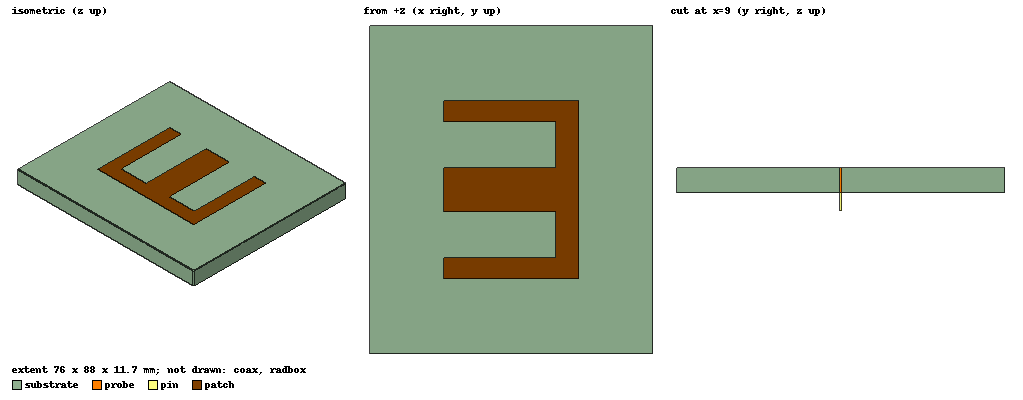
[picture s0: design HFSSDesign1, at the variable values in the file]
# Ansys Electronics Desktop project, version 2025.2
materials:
  vacuum: permittivity=1
  Rogers RT/duroid 5880 (tm): permittivity=2.2 dielectric_loss_tangent=0.0009
  pec: conductivity=1e+30

design HFSSDesign1 (HFSS, HFSS Terminal Network, model units mm)
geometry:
  patch = rectangle(corner=(0mm, 0mm, 0mm), x_size=36mm, y_size=48mm)
  slot1 = rectangle(corner=(0mm, 5.7mm, 0mm), x_size=30mm, y_size=12.5mm)
  slot2 = rectangle(corner=(0mm, 29.8mm, 0mm), x_size=30mm, y_size=12.5mm)
  patch.subtract(slot1)
  patch.subtract(slot2)
  ground = rectangle(corner=(56mm, 68mm, -6.7mm), x_size=-76mm, y_size=-88mm)
  substrate [Rogers RT/duroid 5880 (tm)] = box(corner=(56mm, 68mm, -6.7mm), size=(-76mm, -88mm, 6.7mm))
  cut = circle(normal=Z, centre=(9mm, 24mm, -6.7mm), radius=0.6mm)
  ground.subtract(cut)
  probe [pec] = cylinder(axis=Z, base_centre=(9mm, 24mm, -6.7mm), radius=0.17mm, height=6.7mm)
  pin [pec] = cylinder(axis=Z, base_centre=(9mm, 24mm, -6.7mm), radius=0.17mm, height=-5mm)
  coax [vacuum] = cylinder(axis=Z, base_centre=(9mm, 24mm, -6.7mm), radius=0.6mm, height=-5mm)
  source = circle(normal=Z, centre=(9mm, 24mm, -11.7mm), radius=0.6mm)
  radbox [vacuum] = box(corner=(56mm, 68mm, -6.7mm), size=(-76mm, -88mm, 37.95mm))
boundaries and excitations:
  Rad1: Radiation Faces=radbox.face(+z, -y, +x, +y, -x)
  PerfE1: Perfect E Objects=ground
  PerfE2: Perfect E Objects=patch
  source_T1: Terminal port=1 Faces=pin.face(-z end) TerminalResistance=50ohm
  1: Wave Port Faces=source.face WavePortType=Terminal NumModes=1 SpecifiedWaveDirectionFlip
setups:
  Setup1: HfssDriven Frequency=2.4GHz MaxDeltaS=0.02 MaximumPasses=5 MinimumPasses=1 MinimumConvergedPasses=1 PercentRefinement=30 BasisOrder=1 PortAccuracy=2 DrivenSolverType="Direct Solver"
    sweep Sweep: 1GHz to 10GHz, 91 points; Type=Fast SaveFields
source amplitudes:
  1:1: 1V 0deg
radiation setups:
  Infinite Sphere1: Infinite Sphere Theta=-180deg..180deg step 2deg Phi=-180deg..180deg step 2deg
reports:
  Terminal S Parameter Plot1: dB(St(source_T1,source_T1)) vs Freq on Setup1 : Sweep
  Gain Plot1: dB(GainTotal) vs Phi, Theta on Setup1 : LastAdaptive, Infinite Sphere1 [Freq=2.4GHz]
